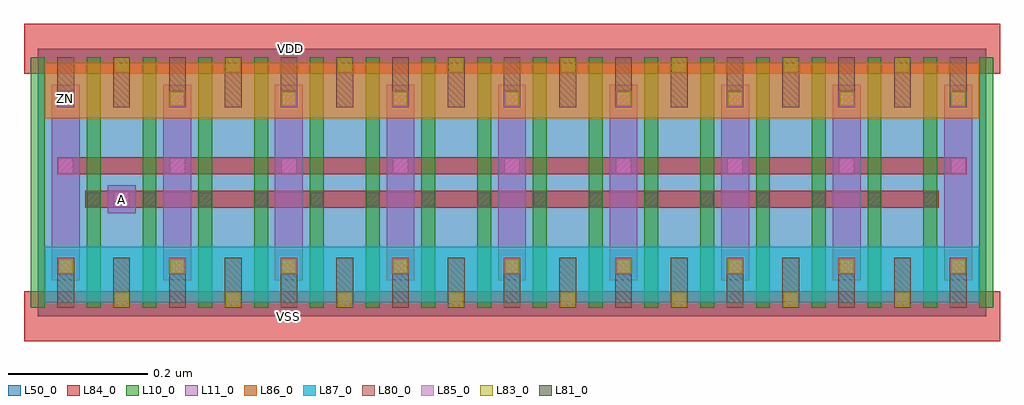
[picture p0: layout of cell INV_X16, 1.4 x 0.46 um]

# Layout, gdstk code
import gdstk
lib = gdstk.Library(unit=1e-6, precision=1e-09)
def R(c, l, rs):  # rectangles x0, y0, x1, y1
    for r in rs: c.add(gdstk.rectangle(r[:2], r[2:], *l))
def A(c, l, x, y, w, h, nx, ny, dx, dy):  # array of equal rectangles
    R(c, l, [(x+i*dx, y+j*dy, x+i*dx+w, y+j*dy+h) for i in range(nx) for j in range(ny)])
L10_0 = (10, 0)
L11_0 = (11, 0)
L50_0 = (50, 0)
L80_0 = (80, 0)
L81_0 = (81, 0)
L83_0 = (83, 0)
L84_0 = (84, 0)
L85_0 = (85, 0)
L86_0 = (86, 0)
L87_0 = (87, 0)

inv_x16 = lib.new_cell('INV_X16')
A(inv_x16, L10_0, -0.01, 0.012, 0.02, 0.36, 5, 1, 0.08, 0)
A(inv_x16, L10_0, 0.39, 0.012, 0.02, 0.36, 4, 1, 0.08, 0)
A(inv_x16, L10_0, 0.71, 0.012, 0.02, 0.36, 4, 1, 0.08, 0)
A(inv_x16, L10_0, 1.03, 0.012, 0.02, 0.36, 5, 1, 0.08, 0)
R(inv_x16, L10_0, [(0.31,0.012,0.33,0.372), (0.39,0.012,0.41,0.372), (0.63,0.012,0.65,0.372), (0.71,0.012,0.73,0.372), (0.95,0.012,0.97,0.372), (1.03,0.012,1.05,0.372)])
A(inv_x16, L11_0, 0.02, 0.052, 0.04, 0.28, 3, 1, 0.16, 0)
A(inv_x16, L11_0, 0.34, 0.052, 0.04, 0.28, 3, 1, 0.16, 0)
A(inv_x16, L11_0, 0.66, 0.052, 0.04, 0.28, 3, 1, 0.16, 0)
A(inv_x16, L11_0, 0.98, 0.052, 0.04, 0.28, 3, 1, 0.16, 0)
R(inv_x16, L11_0, [(0.1,0.148,0.14,0.188)])
R(inv_x16, L50_0, [(0,0,1.36,0.384)])
A(inv_x16, L80_0, 0.028, 0.012, 0.024, 0.072, 5, 2, 0.08, 0.288)
A(inv_x16, L80_0, 0.348, 0.012, 0.024, 0.072, 5, 2, 0.08, 0.288)
A(inv_x16, L80_0, 0.668, 0.012, 0.024, 0.072, 5, 2, 0.08, 0.288)
A(inv_x16, L80_0, 0.988, 0.012, 0.024, 0.072, 5, 2, 0.08, 0.288)
A(inv_x16, L81_0, 0.071, 0.159, 0.018, 0.018, 16, 1, 0.08, 0)
A(inv_x16, L83_0, 0.11, 0.014, 0.02, 0.02, 8, 2, 0.16, 0.336)
A(inv_x16, L83_0, 0.03, 0.062, 0.02, 0.02, 3, 2, 0.16, 0.24)
A(inv_x16, L83_0, 0.35, 0.062, 0.02, 0.02, 3, 2, 0.16, 0.24)
A(inv_x16, L83_0, 0.67, 0.062, 0.02, 0.02, 3, 2, 0.16, 0.24)
A(inv_x16, L83_0, 0.99, 0.062, 0.02, 0.02, 3, 2, 0.16, 0.24)
A(inv_x16, L84_0, -0.02, -0.036, 0.44, 0.072, 4, 2, 0.32, 0.384)
A(inv_x16, L84_0, 0.028, 0.06, 0.024, 0.024, 3, 2, 0.16, 0.24)
A(inv_x16, L84_0, 0.348, 0.06, 0.024, 0.024, 3, 2, 0.16, 0.24)
A(inv_x16, L84_0, 0.668, 0.06, 0.024, 0.024, 3, 2, 0.16, 0.24)
A(inv_x16, L84_0, 0.988, 0.06, 0.024, 0.024, 3, 2, 0.16, 0.24)
A(inv_x16, L84_0, 0.028, 0.204, 0.344, 0.024, 4, 1, 0.32, 0)
R(inv_x16, L84_0, [(0.068,0.156,0.41,0.18), (0.388,0.156,0.652,0.18), (0.63,0.156,1.05,0.18), (1.028,0.156,1.292,0.18)])
A(inv_x16, L85_0, 0.029, 0.061, 0.022, 0.022, 3, 2, 0.16, 0.144)
A(inv_x16, L85_0, 0.349, 0.061, 0.022, 0.022, 3, 2, 0.16, 0.144)
A(inv_x16, L85_0, 0.669, 0.061, 0.022, 0.022, 3, 2, 0.16, 0.144)
A(inv_x16, L85_0, 0.989, 0.061, 0.022, 0.022, 3, 2, 0.16, 0.144)
A(inv_x16, L85_0, 0.029, 0.301, 0.022, 0.022, 3, 1, 0.16, 0)
A(inv_x16, L85_0, 0.349, 0.301, 0.022, 0.022, 3, 1, 0.16, 0)
A(inv_x16, L85_0, 0.669, 0.301, 0.022, 0.022, 3, 1, 0.16, 0)
A(inv_x16, L85_0, 0.989, 0.301, 0.022, 0.022, 3, 1, 0.16, 0)
R(inv_x16, L85_0, [(0.109,0.157,0.131,0.179)])
A(inv_x16, L86_0, 0.01, 0.284, 0.38, 0.08, 4, 1, 0.32, 0)
A(inv_x16, L87_0, 0.01, 0.02, 0.38, 0.08, 4, 1, 0.32, 0)
inv_x16.add(gdstk.Label('VSS', (0.36,0), layer=88, texttype=0))
inv_x16.add(gdstk.Label('VDD', (0.362,0.384), layer=88, texttype=0))
inv_x16.add(gdstk.Label('A', (0.12,0.168), layer=31, texttype=0))
inv_x16.add(gdstk.Label('ZN', (0.04,0.312), layer=31, texttype=0))

lib.write_gds('INV_X16.gds')
